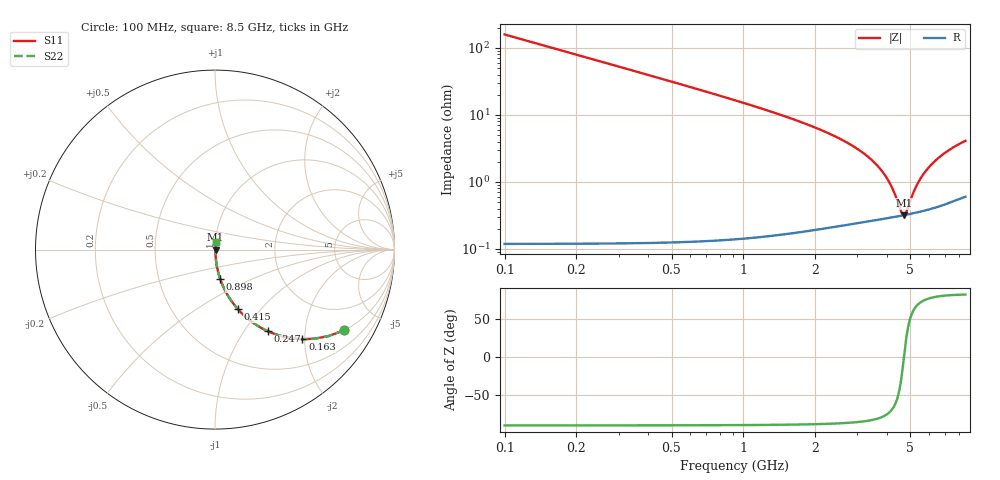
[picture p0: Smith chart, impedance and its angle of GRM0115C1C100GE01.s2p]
!Murata Part Number: GRM0115C1C100GE01
!These Parameters are Measured in Series Mode Connection
!Data Generated on Mar 30, 2021
!  o--ll--o
!Port1  Port2
!  o------o
!Operation Temp=25[degC], DC Bias Voltage=0[V]
!Freq. Start=100[MHz] Stop=9[GHz] 401[Steps]
# Hz S RI R 50
!Freq.(Hz) S11(Real) S11(Imag) S21(Real) S21(Imag) S12(Real) S12(Imag) S22(Real) S22(Imag)
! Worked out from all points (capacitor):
!   401 points, 100 MHz to 8.5 GHz, reference 50 ohm
!   read as one part in series: C = 10 pF near 142 MHz
!   lowest |Z| = 319 mohm at 4.699 GHz (marker M1)
!   series resonance near 4.701 GHz, so ESL is about 110 pH
!   S11 on the Smith chart (normalised r, x): 100 MHz: 1.00, -3.18; 163 MHz: 1.00, -1.95; 247 MHz: 1.00, -1.28; 415 MHz: 1.00, -0.76; 898 MHz: 1.00, -0.34; 8.5 GHz: 1.01, +0.08
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1e8  0.7166 -0.4503  0.2834 0.4503  0.2834 0.4503  0.7166 -0.4503
1.63e8  0.4874 -0.4992  0.5126 0.4992  0.5126 0.4992  0.4874 -0.4992
2.47e8  0.2925 -0.454  0.7075 0.454  0.7075 0.454  0.2925 -0.454
3.31e8  0.1868 -0.3885  0.8132 0.3885  0.8132 0.3885  0.1868 -0.3885
4.15e8  0.1272 -0.3315  0.8728 0.3315  0.8728 0.3315  0.1272 -0.3315
6.04e8  0.0639 -0.242  0.9361 0.242  0.9361 0.242  0.0639 -0.242
8.98e8  0.0295 -0.1651  0.9705 0.1651  0.9705 0.1651  0.0295 -0.1651
1.507e9  0.0104 -0.0931  0.9896 0.0931  0.9896 0.0931  0.0104 -0.0931
2.914e9  0.00347 -0.033  0.9965 0.033  0.9965 0.033  0.00347 -0.033
3.376e9  0.00309 -0.0224  0.9969 0.0224  0.9969 0.0224  0.00309 -0.0224
3.754e9  0.00298 -0.015  0.997 0.015  0.997 0.015  0.00298 -0.015
4.048e9  0.00298 -0.00995  0.997 0.00995  0.997 0.00995  0.00298 -0.00995
4.3e9  0.00303 -0.00592  0.997 0.00592  0.997 0.00592  0.00303 -0.00592
4.573e9  0.00312 -0.00183  0.9969 0.00183  0.9969 0.00183  0.00312 -0.00183
4.699e9  0.00318 -3.34e-05  0.9968 3.34e-05  0.9968 3.34e-05  0.00318 -3.34e-05
4.804e9  0.00323 0.00143  0.9968 -0.00143  0.9968 -0.00143  0.00323 0.00143
5.077e9  0.00339 0.00508  0.9966 -0.00508  0.9966 -0.00508  0.00339 0.00508
5.266e9  0.00351 0.0075  0.9965 -0.0075  0.9965 -0.0075  0.00351 0.0075
5.707e9  0.00387 0.0129  0.9961 -0.0129  0.9961 -0.0129  0.00387 0.0129
6.316e9  0.00447 0.0197  0.9955 -0.0197  0.9955 -0.0197  0.00447 0.0197
7.114e9  0.00548 0.0278  0.9945 -0.0278  0.9945 -0.0278  0.00548 0.0278
8.5e9  0.00759 0.0401  0.9924 -0.0401  0.9924 -0.0401  0.00759 0.0401
